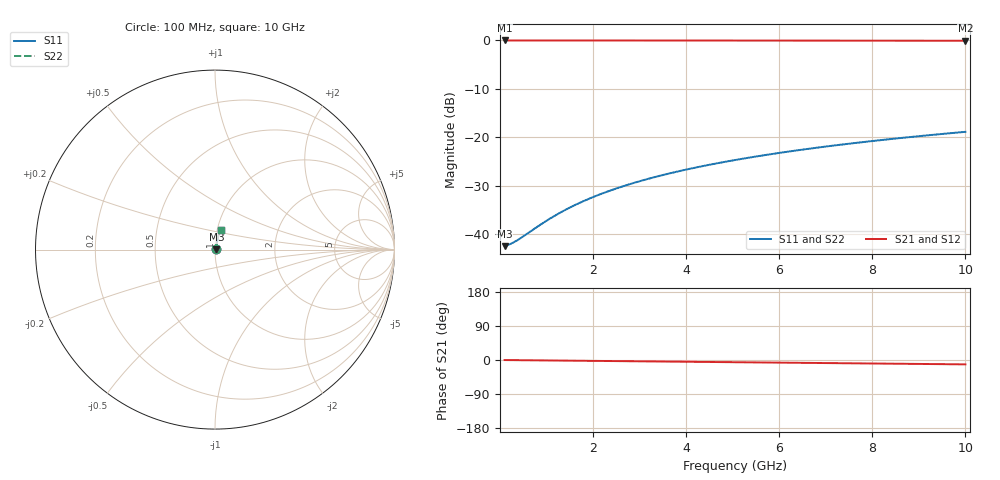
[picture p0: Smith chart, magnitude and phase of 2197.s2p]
# Hz S RI R 50.00
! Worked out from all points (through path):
!   100 points, 100 MHz to 10 GHz, reference 50 ohm
!   highest |S21| = -0.07 dB at 100 MHz (marker M1); lowest = -0.1 dB at 10 GHz (marker M2)
!   group delay of S21, straight-line fit = 3.2 ps
!   lowest |S11| = -42.4 dB at 100 MHz (marker M3), VSWR 1.02, Z = 50.8 + j0.115 ohm
!   |S11| at or under -10 dB: start of sweep to end of sweep
!   |S22| runs from -42.4 to -18.9 dB; largest |S21 - S12| = 0
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1e8  0.00748 0.00113  0.9925 -0.002  0.9925 -0.002  0.00748 0.00113
2e8  0.00754 0.00226  0.9925 -0.00401  0.9925 -0.00401  0.00754 0.00226
3e8  0.00759 0.0034  0.9924 -0.00601  0.9924 -0.00601  0.00759 0.0034
4e8  0.00763 0.00453  0.9924 -0.00801  0.9924 -0.00801  0.00763 0.00453
9e8  0.00788 0.0102  0.9921 -0.018  0.9921 -0.018  0.00788 0.0102
1.2e9  0.00807 0.0136  0.9919 -0.024  0.9919 -0.024  0.00807 0.0136
1.5e9  0.00829 0.017  0.9916 -0.03  0.9916 -0.03  0.00829 0.017
1.8e9  0.00855 0.0203  0.9913 -0.036  0.9913 -0.036  0.00855 0.0203
2.1e9  0.00884 0.0237  0.991 -0.042  0.991 -0.042  0.00884 0.0237
2.5e9  0.0093 0.0282  0.9904 -0.05  0.9904 -0.05  0.0093 0.0282
2.9e9  0.00982 0.0327  0.9898 -0.058  0.9898 -0.058  0.00982 0.0327
3.4e9  0.0106 0.0383  0.989 -0.0679  0.989 -0.0679  0.0106 0.0383
3.8e9  0.0113 0.0428  0.9882 -0.0759  0.9882 -0.0759  0.0113 0.0428
4.2e9  0.012 0.0472  0.9873 -0.0838  0.9873 -0.0838  0.012 0.0472
4.6e9  0.0128 0.0517  0.9863 -0.0918  0.9863 -0.0918  0.0128 0.0517
5.1e9  0.014 0.0572  0.985 -0.1017  0.985 -0.1017  0.014 0.0572
5.9e9  0.016 0.066  0.9826 -0.1174  0.9826 -0.1174  0.016 0.066
6.7e9  0.0183 0.0747  0.9799 -0.1331  0.9799 -0.1331  0.0183 0.0747
7.5e9  0.0209 0.0833  0.9769 -0.1487  0.9769 -0.1487  0.0209 0.0833
8.4e9  0.0241 0.0928  0.9731 -0.1662  0.9731 -0.1662  0.0241 0.0928
9.2e9  0.0273 0.1012  0.9694 -0.1815  0.9694 -0.1815  0.0273 0.1012
1e10  0.0307 0.1095  0.9654 -0.1968  0.9654 -0.1968  0.0307 0.1095
